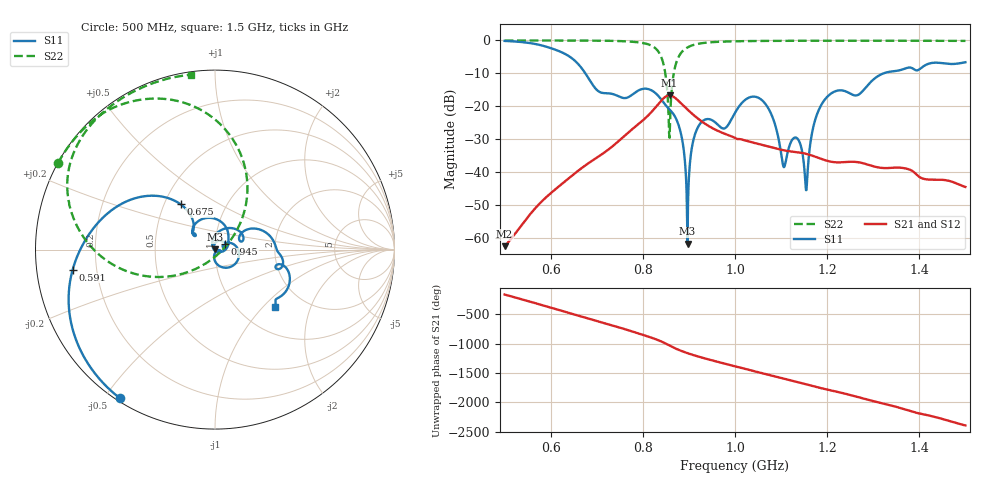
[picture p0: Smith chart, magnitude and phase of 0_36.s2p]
! TOUCHSTONE file generated by CST MICROWAVE STUDIO
! Date and time: Mon Sep 28 14:16:16 2020
! Project name: Scenario_1_Free_SPace.cst
! Parameters = {dx1=780; L_HA=400; MT=2.54; Rad_Dielectric=30; Rad_Lower=7.3; Rad_Upper=30; a_HA=580; a_WG=246; b_HA=500; b_WG=121; c_HA=0; c_WG=187; d_feed=85; h_feed=15; h_lower=18; h_upper=40}
! Header version: 2018
! Port assignment regex: !\s*Touchstone port\s*([0-9]+)\s*=\s*(CST MWS port|CST DS port)\s*([0-9]+|Zmin|Zmax)\s*\(\"(.*)\"\)(\s*mode\s*([0-9]+))?.*
! Touchstone port assignment:
! Touchstone port 1 = CST MWS port 1 ("")
! Touchstone port 2 = CST MWS port 2 ("")
# GHz S DB R 50
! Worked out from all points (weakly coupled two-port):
!   1003 points, 500 MHz to 1.5 GHz, reference 50 ohm
!   highest |S21| = -16.72 dB at 858 MHz (marker M1); lowest = -62.6 dB at 500 MHz (marker M2)
!   lowest |S11| = -61.8 dB at 897 MHz (marker M3), VSWR 1.00, Z = 50 + j0.0806 ohm
!   |S11| at or under -10 dB: 675.1 MHz to 1.323 GHz (647.5 MHz wide, 64.8 % of centre)
!   |S22| runs from -29.6 to 0.0 dB; largest |S21 - S12| = 0.00077
!   S11 on the Smith chart (normalised r, x): 500 MHz: 0.01, -0.55; 591 MHz: 0.11, -0.07; 675 MHz: 0.61, +0.34; 945 MHz: 1.11, +0.07; 1.5 GHz: 1.44, -1.18
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0.5  -0.15 -122.7  -62.60 -166.6  -62.60 -166.6  -0.01 151.1
0.591  -1.93 -172.0  -47.61 -9.3  -47.61 -9.3  -0.02 144.8
0.667  -8.40 131.6  -38.86 177.2  -38.86 177.2  -0.04 138.3
0.675  -9.97 127.2  -38.04 158.7  -38.04 158.7  -0.05 137.5
0.781  -16.07 143.4  -26.54 -84.3  -26.54 -84.3  -0.45 119.9
0.834  -16.94 66.0  -19.28 135.5  -19.28 135.5  -3.46 85.1
0.858  -21.03 32.3  -16.72 45.9  -16.72 45.9  -29.63 -71.2
0.868  -22.76 14.4  -17.27 6.8  -17.27 6.8  -9.29 -153.6
0.882  -27.95 -17.4  -19.00 -40.6  -19.00 -40.6  -3.98 -176.3
0.897  -61.81 83.0  -21.03 -83.5  -21.03 -83.5  -2.12 169.9
0.914  -28.23 86.8  -23.15 -126.3  -23.15 -126.3  -1.22 160.4
0.945  -23.98 29.1  -26.22 165.2  -26.22 165.2  -0.58 150.1
1  -22.03 28.6  -29.65 52.6  -29.59 52.5  -0.26 140.2
1.059  -18.23 -55.1  -31.78 -64.5  -31.78 -64.5  -0.15 133.4
1.084  -24.33 -91.5  -32.68 -114.3  -32.68 -114.3  -0.13 131.1
1.105  -38.32 -60.7  -33.41 -155.1  -33.41 -155.1  -0.12 129.2
1.133  -29.60 -23.1  -33.98 150.4  -33.98 150.4  -0.11 126.9
1.154  -45.55 -126.7  -34.50 107.1  -34.50 107.1  -0.10 125.2
1.167  -28.28 113.6  -35.03 80.4  -35.03 80.4  -0.10 124.1
1.206  -16.41 52.3  -36.83 7.1  -36.83 7.1  -0.09 121.1
1.334  -9.57 6.8  -38.82 117.4  -38.81 117.4  -0.09 111.4
1.5  -6.63 -43.7  -44.58 127.5  -44.58 127.5  -0.14 97.8
